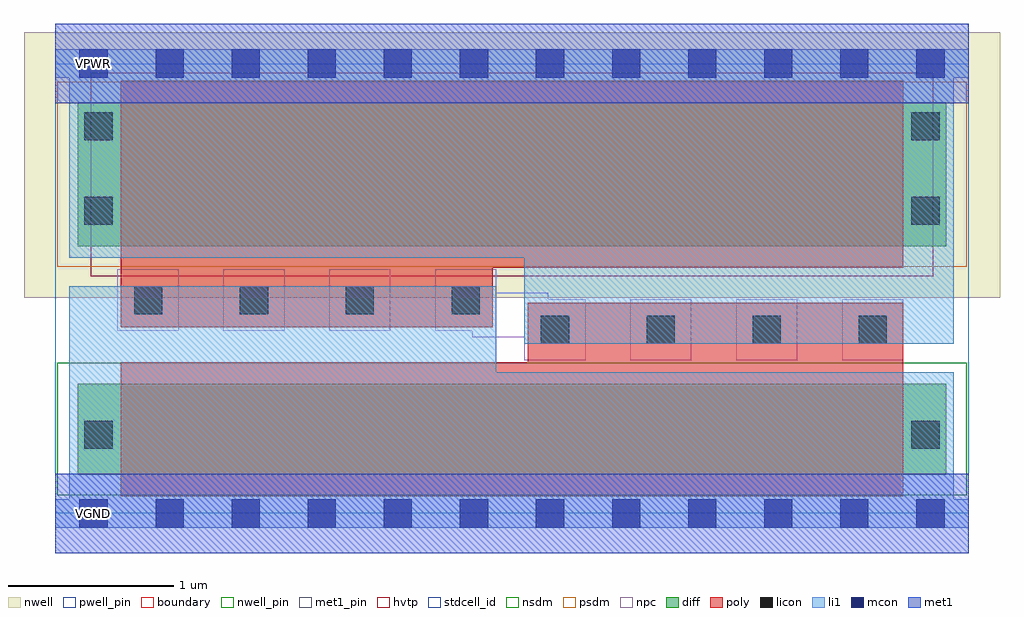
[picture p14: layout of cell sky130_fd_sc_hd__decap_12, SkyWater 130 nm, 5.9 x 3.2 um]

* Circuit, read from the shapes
.subckt sky130_fd_sc_hd__decap_12 VGND VNB VPB VPWR
XM1 VGND VPWR VGND VNB sky130_fd_pr__nfet_01v8 w=0.55 l=4.73
XM2 VPWR VGND VPWR VPB sky130_fd_pr__pfet_01v8_hvt w=0.87 l=4.73
.ends

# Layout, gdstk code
import gdstk
lib = gdstk.Library(unit=1e-6, precision=1e-09)
def R(c, l, rs):  # rectangles x0, y0, x1, y1
    for r in rs: c.add(gdstk.rectangle(r[:2], r[2:], *l))
def A(c, l, x, y, w, h, nx, ny, dx, dy):  # array of equal rectangles
    R(c, l, [(x+i*dx, y+j*dy, x+i*dx+w, y+j*dy+h) for i in range(nx) for j in range(ny)])
nwell_pin = (64, 16)
nwell = (64, 20)
diff = (65, 20)
poly = (66, 20)
licon = (66, 44)
li1 = (67, 20)
mcon = (67, 44)
met1_pin = (68, 16)
met1 = (68, 20)
hvtp = (78, 44)
stdcell_id = (81, 4)
nsdm = (93, 44)
psdm = (94, 20)
npc = (95, 20)
pwell_pin = (122, 16)
boundary = (235, 4)

sky130_fd_sc_hd__decap_1 = lib.new_cell('sky130_fd_sc_hd__decap_12')
R(sky130_fd_sc_hd__decap_1, nwell_pin, [(0.145,2.635,0.315,2.805)])
R(sky130_fd_sc_hd__decap_1, nwell, [(-0.19,1.305,5.71,2.91)])
R(sky130_fd_sc_hd__decap_1, diff, [(0.135,0.235,5.385,0.785), (0.135,1.615,5.385,2.485)])
R(sky130_fd_sc_hd__decap_1, poly, [(0.395,0.105,5.125,0.915), (2.855,0.915,5.125,1.275), (0.395,1.125,2.645,1.485), (0.395,1.485,5.125,2.615)])
A(sky130_fd_sc_hd__decap_1, licon, 2.935, 1.025, 0.17, 0.17, 4, 1, 0.64, 0)
A(sky130_fd_sc_hd__decap_1, licon, 0.475, 1.205, 0.17, 0.17, 4, 1, 0.64, 0)
R(sky130_fd_sc_hd__decap_1, licon, [(0.175,0.39,0.345,0.56), (5.175,0.39,5.345,0.56), (0.175,1.745,0.345,1.915), (5.175,1.745,5.345,1.915), (0.175,2.255,0.345,2.425), (5.175,2.255,5.345,2.425)])
R(sky130_fd_sc_hd__decap_1, li1, [(0,-0.085,5.52,0.085), (0.085,0.085,5.43,0.855), (0.085,0.855,2.665,1.375), (2.835,1.025,5.43,1.545), (0.085,1.545,5.43,2.635), (0,2.635,5.52,2.805)])
A(sky130_fd_sc_hd__decap_1, mcon, 0.145, -0.085, 0.17, 0.17, 12, 2, 0.46, 2.72)
R(sky130_fd_sc_hd__decap_1, met1_pin, [(0.145,-0.085,0.315,0.085), (0.145,2.635,0.315,2.805)])
R(sky130_fd_sc_hd__decap_1, met1, [(0,-0.24,5.52,0.24), (0,2.48,5.52,2.96)])
R(sky130_fd_sc_hd__decap_1, hvtp, [(0.215,1.435,5.305,2.665)])
R(sky130_fd_sc_hd__decap_1, stdcell_id, [(0,0,5.52,2.72)])
R(sky130_fd_sc_hd__decap_1, nsdm, [(0.01,0.11,5.51,0.91)])
R(sky130_fd_sc_hd__decap_1, psdm, [(0.01,1.49,5.51,2.61)])
A(sky130_fd_sc_hd__decap_1, npc, 3.475, 0.925, 0.37, 0.37, 3, 1, 0.64, 0)
A(sky130_fd_sc_hd__decap_1, npc, 0.375, 1.105, 0.37, 0.37, 3, 1, 0.64, 0)
R(sky130_fd_sc_hd__decap_1, npc, [(2.835,0.925,3.205,1.065), (2.52,1.065,3.205,1.105), (2.295,1.105,3.205,1.295), (2.295,1.295,2.98,1.335), (2.295,1.335,2.665,1.475)])
R(sky130_fd_sc_hd__decap_1, pwell_pin, [(0.145,-0.085,0.315,0.085)])
R(sky130_fd_sc_hd__decap_1, boundary, [(0,0,5.52,2.72)])
sky130_fd_sc_hd__decap_1.add(gdstk.Label('VGND', (0.23,0), layer=68, texttype=5))
sky130_fd_sc_hd__decap_1.add(gdstk.Label('VPWR', (0.23,2.72), layer=68, texttype=5))
sky130_fd_sc_hd__decap_1.add(gdstk.Label('VPB', (0.23,2.72), layer=64, texttype=5))
sky130_fd_sc_hd__decap_1.add(gdstk.Label('VNB', (0.23,0), layer=64, texttype=59))

lib.write_gds('sky130_fd_sc_hd__decap_12.gds')
